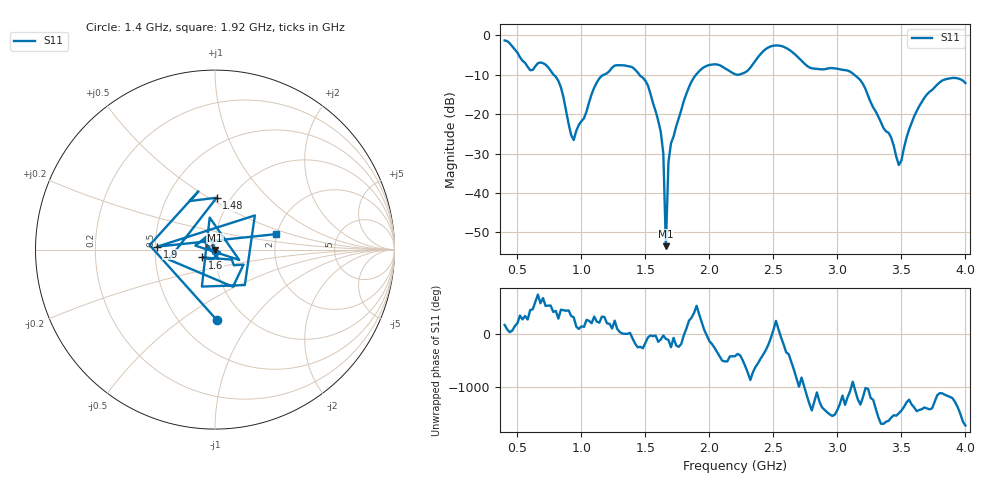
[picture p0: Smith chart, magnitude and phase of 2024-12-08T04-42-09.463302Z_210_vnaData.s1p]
!Created with skrf (http://scikit-rf.org).
# Hz S RI R 50.0
!freq ReS11 ImS11
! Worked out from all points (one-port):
!   181 points, 400 MHz to 4 GHz, reference 50 ohm
!   lowest |S11| = -53.5 dB at 1.66 GHz (marker M1), VSWR 1.00, Z = 50 - j0.212 ohm
!   |S11| at or under -10 dB: 782.1 MHz to 1.177 GHz (394.5 MHz wide, 40.3 % of centre); 1.453 GHz to 1.896 GHz (443.3 MHz wide, 26.5 % of centre); 3.131 GHz to end of sweep (the widest 3 of 4)
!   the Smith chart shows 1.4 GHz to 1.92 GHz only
!   S11 on the Smith chart (normalised r, x): 1.4 GHz: 0.75, -0.69; 1.48 GHz: 0.86, +0.54; 1.6 GHz: 0.87, -0.08; 1.9 GHz: 0.51, +0.02; 1.92 GHz: 1.97, +0.39
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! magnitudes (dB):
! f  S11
! 400 MHz  -1.3
! 600 MHz  -8.9
! 720 MHz  -7.5
! 860 MHz  -15.8
! 940 MHz  -26.6
! 1.12 GHz  -12.0
! 1.3 GHz  -7.6
! 1.4 GHz  -8.2
! 1.48 GHz  -10.8
! 1.6 GHz  -21.6
! 1.64 GHz  -30.0
! 1.66 GHz  -53.5
! 1.68 GHz  -32.2
! 1.76 GHz  -21.1
! 1.9 GHz  -9.8
! 1.92 GHz  -9.1
! 2.04 GHz  -7.4
! 2.2 GHz  -9.9
! 2.48 GHz  -2.8
! 2.66 GHz  -4.6
! 2.8 GHz  -8.4
! 3.1 GHz  -9.3
! 3.42 GHz  -25.9
! 3.48 GHz  -32.9
! 3.56 GHz  -23.9
! 3.68 GHz  -15.8
! 3.8 GHz  -11.9
! 4 GHz  -12.1
